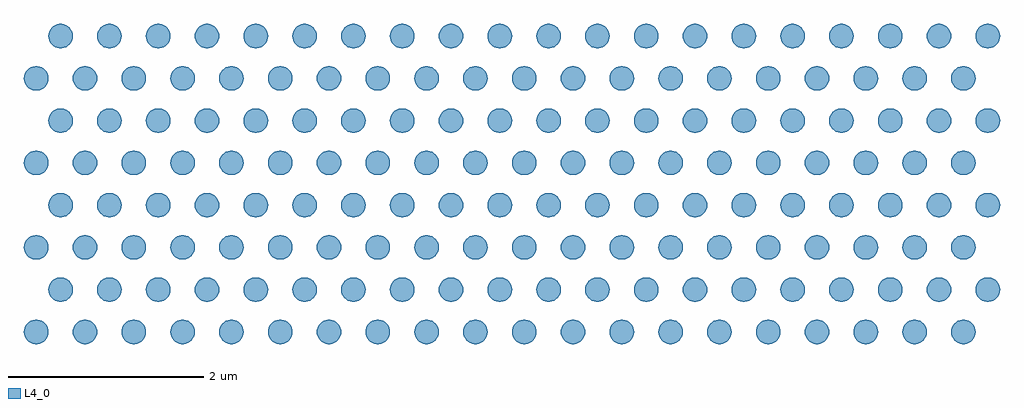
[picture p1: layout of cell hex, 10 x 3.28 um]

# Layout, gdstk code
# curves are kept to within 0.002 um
import gdstk
lib = gdstk.Library(unit=1e-6, precision=1e-09)
def P(c, l, *ps):  # polygons
    for p in ps: c.add(gdstk.Polygon(p, *l))
L4_0 = (4, 0)

singleobjecthex = lib.new_cell('singleObjectHEX')
P(singleobjecthex, L4_0, [(-0.012,-0.124),(-0.056,-0.112),(-0.075,-0.1),(-0.106,-0.066),(-0.117,-0.045),(-0.123,-0.023),(-0.123,0.023),(-0.117,0.045),(-0.106,0.066),(-0.075,0.1),(-0.056,0.112),(-0.034,0.12),(-0.012,0.124),(0.012,0.124),(0.056,0.112),(0.075,0.1),(0.106,0.066),(0.117,0.045),(0.123,0.023),(0.123,-0.023),(0.117,-0.045),(0.106,-0.066),(0.075,-0.1),(0.056,-0.112),(0.034,-0.12),(0.012,-0.124)])

hex = lib.new_cell('hex')
r = gdstk.Reference(singleobjecthex, (0,0)); r.repetition = gdstk.Repetition(20, 4, v1=(0.5,0), v2=(0,0.866)); hex.add(r)
r = gdstk.Reference(singleobjecthex, (0.25,0.433)); r.repetition = gdstk.Repetition(20, 4, v1=(0.5,0), v2=(0,0.866)); hex.add(r)

lib.write_gds('hex.gds')
